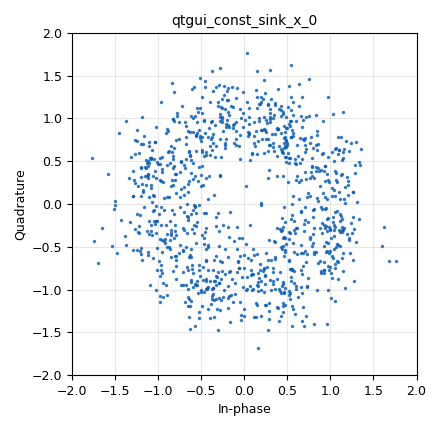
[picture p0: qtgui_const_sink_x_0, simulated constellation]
options:
  parameters:
    author: Matias
    generate_options: qt_gui
    id: lab4
    output_language: python
    title: Not titled yet
  states: {}

blocks:
- name: EbN0
  id: variable_qtgui_range
  parameters:
    label: Energy Bit / Noise Power
    start: '0'
    step: '1'
    stop: '10'
    value: '0'
  states: {}
- name: const
  id: variable
  parameters:
    value: digital.constellation_bpsk(), digital.constellation_qpsk(), digital.constellation_8psk()
  states: {}
- name: const_type
  id: variable
  parameters:
    value: '2'
  states: {}
- name: samp_rate
  id: variable
  parameters:
    value: '100000'
  states: {}
- name: analog_noise_source_x_0
  id: analog_noise_source_x
  parameters:
    amp: 1.0 / math.sqrt(2.0 *const[const_type].bits_per_symbol() * 10**(EbN0/10))
    noise_type: analog.GR_GAUSSIAN
    seed: '42'
    type: complex
  states: {}
- name: analog_random_source_x_0
  id: analog_random_source_x
  parameters:
    max: ' const[const_type].arity()'
    min: '0'
    num_samps: ' int(10e6)'
    repeat: 'False'
    type: byte
  states: {}
- name: blocks_add_xx_0
  id: blocks_add_xx
  parameters:
    type: complex
  states: {}
- name: blocks_throttle2_0
  id: blocks_throttle2
  parameters:
    samples_per_second: samp_rate
    type: byte
  states: {}
- name: digital_chunks_to_symbols_xx_0
  id: digital_chunks_to_symbols_xx
  parameters:
    dimension: '1'
    in_type: byte
    out_type: complex
    symbol_table: const[const_type].points()
  states: {}
- name: digital_constellation_decoder_cb_0
  id: digital_constellation_decoder_cb
  parameters:
    constellation: const[const_type].base()
  states: {}
- name: fec_ber_bf_0
  id: fec_ber_bf
  parameters:
    berlimit: '-7'
    test_mode: 'False'
  states: {}
- name: import_0
  id: import
  parameters:
    imports: import math
  states: {}
- name: qtgui_const_sink_x_0
  id: qtgui_const_sink_x
  parameters:
    size: '1024'
    type: complex
  states: {}
- name: qtgui_number_sink_0
  id: qtgui_number_sink
  parameters:
    graph_type: qtgui.NUM_GRAPH_HORIZ
    min: '0'
    type: float
  states: {}
- name: virtual_sink_0
  id: virtual_sink
  parameters:
    stream_id: Channel
  states: {}
- name: virtual_source_0
  id: virtual_source
  parameters:
    stream_id: Channel
  states: {}

connections:
- [analog_noise_source_x_0, '0', blocks_add_xx_0, '0']
- [analog_random_source_x_0, '0', blocks_throttle2_0, '0']
- [analog_random_source_x_0, '0', digital_chunks_to_symbols_xx_0, '0']
- [blocks_add_xx_0, '0', qtgui_const_sink_x_0, '0']
- [blocks_add_xx_0, '0', virtual_sink_0, '0']
- [blocks_throttle2_0, '0', fec_ber_bf_0, '0']
- [digital_chunks_to_symbols_xx_0, '0', blocks_add_xx_0, '1']
- [digital_constellation_decoder_cb_0, '0', fec_ber_bf_0, '1']
- [fec_ber_bf_0, '0', qtgui_number_sink_0, '0']
- [virtual_source_0, '0', digital_constellation_decoder_cb_0, '0']

metadata:
  file_format: 1
  grc_version: 3.10.12.0
